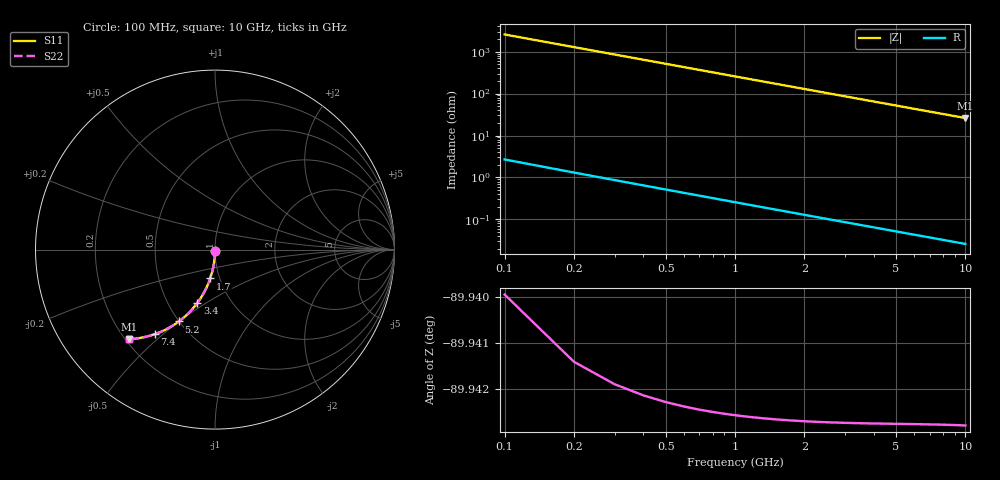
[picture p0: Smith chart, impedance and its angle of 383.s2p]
# Hz S RI R 50.00
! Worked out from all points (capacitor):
!   100 points, 100 MHz to 10 GHz, reference 50 ohm
!   read as one part in shunt: C = 621 fF near 100 MHz
!   lowest |Z| = 26.1 ohm at 10 GHz (marker M1)
!   S11 on the Smith chart (normalised r, x): 100 MHz: 1.00, -0.02; 1.7 GHz: 0.90, -0.30; 3.4 GHz: 0.70, -0.46; 5.2 GHz: 0.50, -0.50; 7.4 GHz: 0.33, -0.47; 10 GHz: 0.21, -0.41
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1e8  -0.000104 -0.00975  0.9999 -0.00977  0.9999 -0.00977  -0.000104 -0.00975
2e8  -0.0004 -0.0195  0.9996 -0.0195  0.9996 -0.0195  -0.0004 -0.0195
3e8  -0.000885 -0.0292  0.9991 -0.0293  0.9991 -0.0293  -0.000885 -0.0292
4e8  -0.00156 -0.0389  0.9984 -0.039  0.9984 -0.039  -0.00156 -0.0389
5e8  -0.00242 -0.0486  0.9976 -0.0487  0.9976 -0.0487  -0.00242 -0.0486
6e8  -0.00347 -0.0583  0.9965 -0.0583  0.9965 -0.0583  -0.00347 -0.0583
8e8  -0.00612 -0.0774  0.9939 -0.0776  0.9939 -0.0776  -0.00612 -0.0774
1.1e9  -0.0115 -0.1058  0.9885 -0.106  0.9885 -0.106  -0.0115 -0.1058
1.4e9  -0.0184 -0.1337  0.9816 -0.1338  0.9816 -0.1338  -0.0184 -0.1337
1.7e9  -0.0268 -0.1608  0.9732 -0.161  0.9732 -0.161  -0.0268 -0.1608
1.8e9  -0.0299 -0.1696  0.9701 -0.1699  0.9701 -0.1699  -0.0299 -0.1696
2.1e9  -0.0401 -0.1956  0.9599 -0.1959  0.9599 -0.1959  -0.0401 -0.1956
2.5e9  -0.0558 -0.2288  0.9442 -0.2292  0.9442 -0.2292  -0.0558 -0.2288
2.9e9  -0.0735 -0.2602  0.9265 -0.2606  0.9265 -0.2606  -0.0735 -0.2602
3.4e9  -0.098 -0.2966  0.902 -0.2971  0.902 -0.2971  -0.098 -0.2966
4.2e9  -0.1417 -0.348  0.8583 -0.3485  0.8583 -0.3485  -0.1417 -0.348
5.1e9  -0.1952 -0.3955  0.8048 -0.3962  0.8048 -0.3962  -0.1952 -0.3955
5.2e9  -0.2013 -0.4002  0.7987 -0.4008  0.7987 -0.4008  -0.2013 -0.4002
6.7e9  -0.294 -0.4547  0.706 -0.4555  0.706 -0.4555  -0.294 -0.4547
7.4e9  -0.3365 -0.4715  0.6635 -0.4725  0.6635 -0.4725  -0.3365 -0.4715
8.4e9  -0.3947 -0.4877  0.6053 -0.4888  0.6053 -0.4888  -0.3947 -0.4877
1e10  -0.4796 -0.4984  0.5204 -0.4997  0.5204 -0.4997  -0.4796 -0.4984
